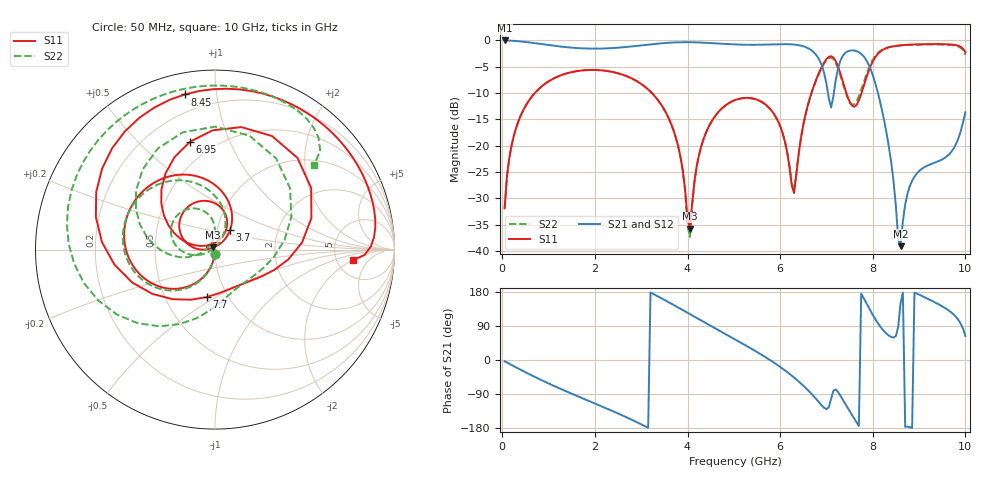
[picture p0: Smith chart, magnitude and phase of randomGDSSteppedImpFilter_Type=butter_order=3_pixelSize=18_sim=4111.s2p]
! freq	dB(S11)	phase(S11)	dB(S12)	phase(S12)
!  dB(S21)	phase(S21)	dB(S22)	phase(S22)
!S-par simulation data
#  GHz  S  DB  R 50
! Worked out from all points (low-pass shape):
!   200 points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, 50 MHz to 10 GHz, reference 50 ohm
!   highest |S21| = -0.01 dB at 50 MHz (marker M1); lowest = -39.1 dB at 8.6 GHz (marker M2)
!   |S21| within 3 dB of the highest: start of sweep to 6.8 GHz; 7.348 GHz to 7.801 GHz (453.1 MHz wide, 5.98 % of centre)
!   lowest |S11| = -35.7 dB at 4.05 GHz (marker M3), VSWR 1.03, Z = 48.9 + j1.18 ohm
!   |S11| at or under -10 dB: start of sweep to 701.6 MHz; 3.23 GHz to 6.675 GHz (3.445 GHz wide, 69.6 % of centre); 7.431 GHz to 7.757 GHz (325.6 MHz wide, 4.29 % of centre)
!   |S22| runs from -37.3 to -0.8 dB; largest |S21 - S12| = 0
!   S11 on the Smith chart (normalised r, x): 50 MHz: 1.00, -0.05; 3.7 GHz: 1.15, +0.26; 6.95 GHz: 0.37, +0.72; 7.7 GHz: 0.80, -0.45; 8.45 GHz: 0.11, +0.82; 10 GHz: 7.21, -2.09
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0.05  -31.88 -93.4  -0.01 -3.3  -0.01 -3.3  -31.88 -93.2
0.5  -12.48 -123.6  -0.30 -32.3  -0.30 -32.3  -12.48 -121.9
1.75  -5.68 164.7  -1.51 -101.9  -1.51 -101.9  -5.68 170.6
3.4  -11.81 70.7  -0.58 165.3  -0.58 165.3  -11.81 83.0
3.7  -17.13 52.6  -0.39 145.3  -0.39 145.3  -17.15 65.6
4.05  -35.73 132.6  -0.34 121.2  -0.34 121.2  -37.34 154.6
4.35  -18.61 175.2  -0.43 100.5  -0.43 100.5  -18.63 -164.8
5.05  -11.25 130.0  -0.77 52.7  -0.77 52.7  -11.27 153.1
5.9  -14.44 70.1  -0.73 -9.8  -0.73 -9.8  -14.46 98.8
6.3  -28.98 123.2  -0.78 -46.2  -0.78 -46.2  -28.35 151.7
6.7  -9.31 146.2  -2.04 -92.3  -2.04 -92.3  -9.45 176.3
6.95  -4.19 103.0  -6.19 -126.2  -6.19 -126.2  -4.41 132.0
7.1  -3.00 63.3  -12.74 -102.4  -12.74 -102.4  -3.28 89.8
7.25  -4.96 18.1  -5.30 -84.2  -5.30 -84.2  -5.35 39.3
7.45  -10.51 -30.3  -2.11 -124.6  -2.11 -124.6  -10.84 -21.4
7.7  -11.41 -100.1  -2.24 -174.3  -2.24 -174.3  -10.55 -84.6
8.05  -3.25 164.7  -8.00 108.7  -8.00 108.7  -2.99 -156.3
8.35  -1.30 113.2  -20.31 64.2  -20.31 64.2  -1.26 157.6
8.45  -1.10 101.1  -26.89 59.2  -26.89 59.2  -1.09 146.5
8.6  -0.93 85.9  -39.07 150.1  -39.07 150.1  -0.95 132.3
8.85  -0.78 65.4  -26.65 -179.4  -26.65 -179.4  -0.84 112.8
10  -2.23 -4.3  -13.64 63.3  -13.64 63.3  -2.77 40.5
